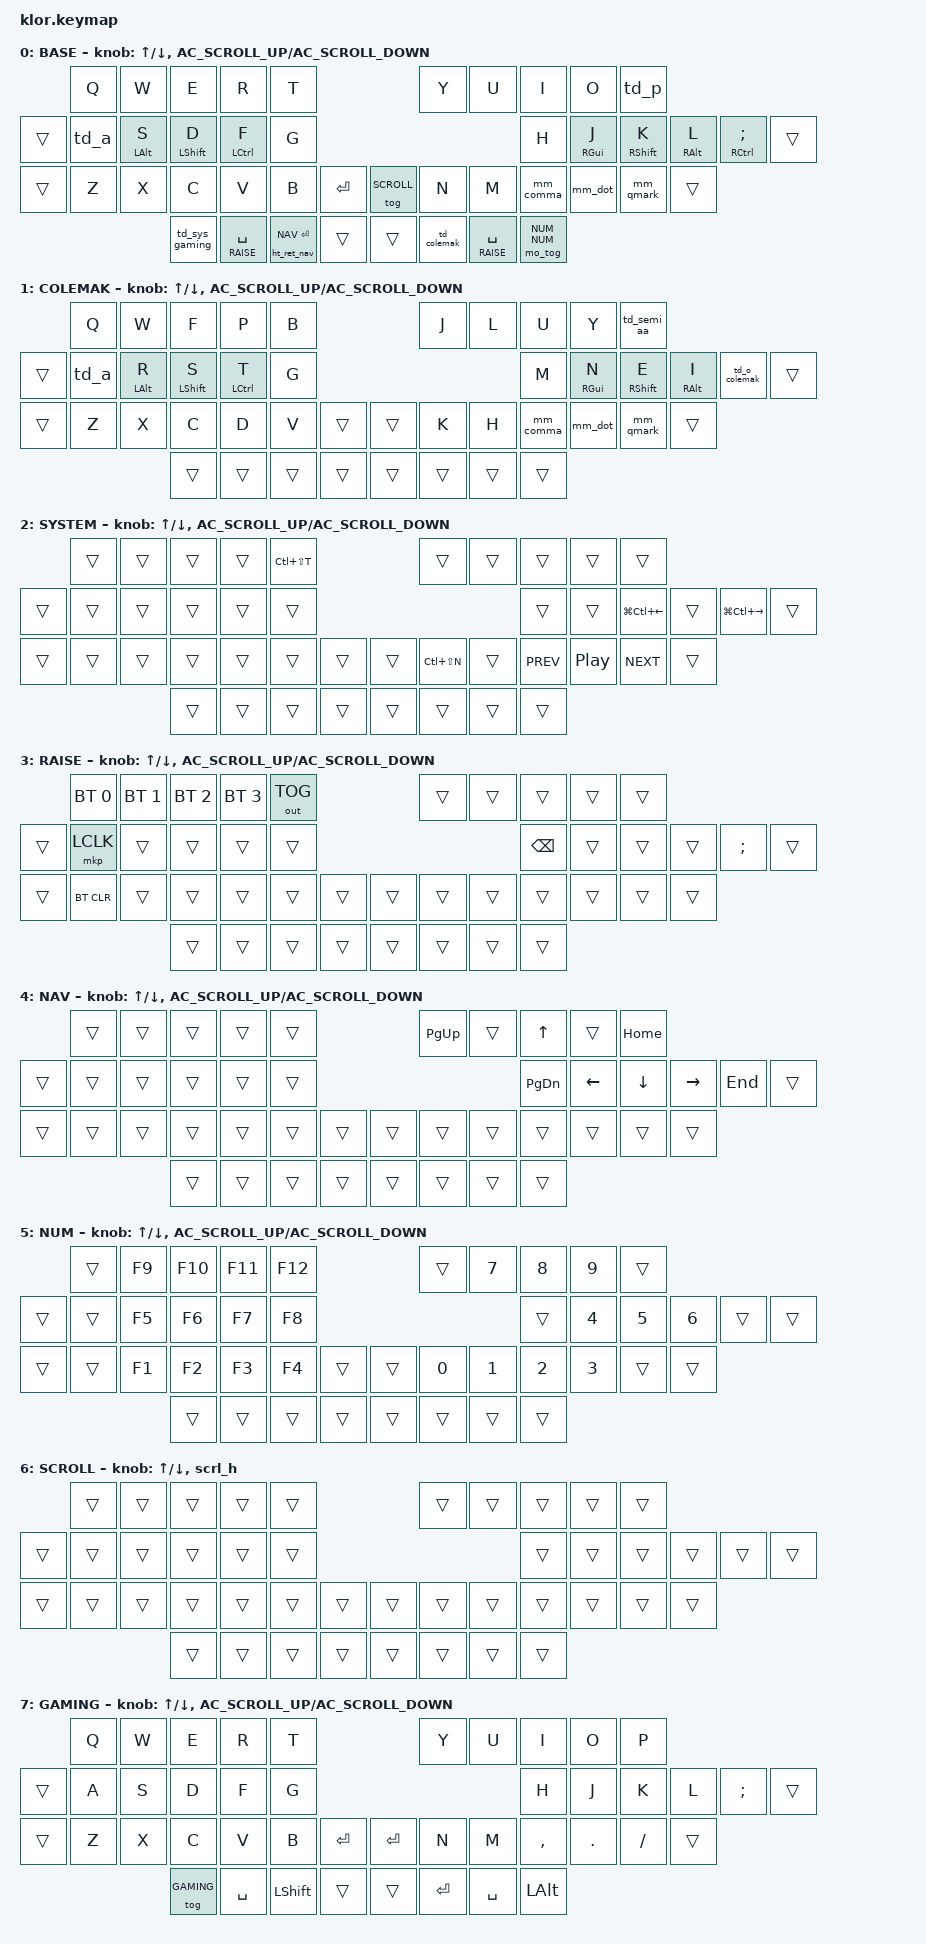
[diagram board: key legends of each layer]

#include <behaviors.dtsi>
// num_word was provided by urob/zmk-auto-layer (v0.3 era). Dropped during the
// ZMK main migration on 2026-05-22 — see config/west.yml.
// #include <behaviors/num_word.dtsi>
#include <dt-bindings/zmk/keys.h>
#include <dt-bindings/zmk/bt.h>
#include <dt-bindings/zmk/outputs.h>
#include <dt-bindings/zmk/ext_power.h>
#include <dt-bindings/zmk/rgb.h>
#include <dt-bindings/zmk/pointing.h>

#define BASE     0
#define COLEMAK  1
#define SYSTEM   2
#define RAISE    3
#define NAV      4
#define NUM      5
#define SCROLL   6
#define GAMING   7

#include "combos.dtsi"
#include "macros.dtsi"
#include "behaviors.dtsi"
#include "tapdance.dtsi"
#include "morphs.dtsi"

/ {
    keymap {
        compatible = "zmk,keymap";

// ▄▄▄▄▄▄▄▄▄▄▄▄▄▄▄▄▄▄▄▄▄▄▄▄▄▄▄▄▄▄▄▄▄▄▄▄▄▄▄▄▄▄▄▄▄▄▄▄▄▄▄▄▄▄▄▄▄▄▄▄▄▄▄▄▄▄▄▄▄▄▄▄▄▄▄▄▄▄▄▄▄▄▄▄▄▄▄▄▄▄▄▄▄▄▄▄▄▄▄▄▄

        base_layer {
display-name = "BASE";
/*             ┌─────────┬─────────┬─────────┬─────────┬─────────┐                    ┌─────────┬─────────┬─────────┬─────────┬─────────┐
               │    Q    │    W    │    E    │    R    │    T    │                    │    Y    │    U    │    I    │    O    │   P/Å   │
   ┌───────────┼─────────┼─────────┼─────────┼─────────┼─────────┤                    ├─────────┼─────────┼─────────┼─────────┼─────────┼───────────┐
   │    ───    │ A/GUI/Ä │  S/ALT  │ D/SHFT  │  F/CTRL │    G    │                    │    H    │  J/GUI  │ K/SHFT  │  L/ALT  │  ;/CTRL │    ───    │
   ├───────────┼─────────┼─────────┼─────────┼─────────┼─────────┤╭────────╮╭────────╮├─────────┼─────────┼─────────┼─────────┼─────────┼───────────┤
   │    ───    │    Z    │    X    │    C    │    V    │    B    ││ ENTER  ││SCR→H   ││    N    │    M    │   ,/;   │   ./:   │   ?/!   │    ───    │
   └───────────┴─────────┴─────────┼─────────┼─────────┼─────────┼╰────────╯╰────────╯┼─────────┼─────────┼─────────┼─────────┴─────────┴───────────┘
                                   │SYS/GAME │SPC/RAISE│ RET/NAV │  ───   ││   ───   │ENT/NAV  │SPC/RAISE│  NUM    │
                                   └─────────┴─────────┴─────────┴─────────┘└─────────┴─────────┴─────────┴─────────┘
                                   SYS: tap=one-shot SYSTEM, hold=momentary SYSTEM, double-tap=GAMING toggle
                                   RET/NAV: tap=Enter, hold=momentary NAV
                                   ENT/NAV: tap=Enter, hold=momentary NAV, double-tap=toggle Colemak DH
                                   NUM: hold=momentary NUM, tap=toggle NUM                        */
bindings = <
//╷           ╷         ╷         ╷         ╷         ╷         ╷         ╷╷         ╷         ╷         ╷         ╷         ╷         ╷           ╷
                &kp Q     &kp W     &kp E     &kp R     &kp T                          &kp Y     &kp U     &kp I     &kp O     &td_p
    &trans      &td_a     &hml LALT S  &hml LSHFT D  &hml LCTRL F  &kp G                 &kp H     &hmr RGUI J  &hmr RSHFT K  &hmr RALT L  &hmr RCTRL SEMI  &trans
    &trans      &kp Z     &kp X     &kp C     &kp V     &kp B     &kp RET    &tog SCROLL  &kp N     &kp M     &mm_comma &mm_dot   &mm_qmark &trans
                                    &td_sys_gaming  &lt RAISE SPACE  &ht_ret_nav NAV RET  &trans  &trans  &td_colemak  &lt RAISE SPACE  &mo_tog NUM NUM
        >;
        sensor-bindings = <&inc_dec_kp UP DOWN &inc_dec_kp C_AC_SCROLL_UP C_AC_SCROLL_DOWN>;
        };

// ▄▄▄▄▄▄▄▄▄▄▄▄▄▄▄▄▄▄▄▄▄▄▄▄▄▄▄▄▄▄▄▄▄▄▄▄▄▄▄▄▄▄▄▄▄▄▄▄▄▄▄▄▄▄▄▄▄▄▄▄▄▄▄▄▄▄▄▄▄▄▄▄▄▄▄▄▄▄▄▄▄▄▄▄▄▄▄▄▄▄▄▄▄▄▄▄▄▄▄▄▄

        colemak_layer {
display-name = "COLEMAK";
/*             ┌─────────┬─────────┬─────────┬─────────┬─────────┐                    ┌─────────┬─────────┬─────────┬─────────┬─────────┐
               │    Q    │    W    │    F    │    P    │    B    │                    │    J    │    L    │    U    │    Y    │  ;/Å    │
   ┌───────────┼─────────┼─────────┼─────────┼─────────┼─────────┤                    ├─────────┼─────────┼─────────┼─────────┼─────────┼───────────┐
   │    ───    │ A/GUI/Ä │  R/ALT  │ S/SHFT  │  T/CTRL │    G    │                    │    M    │  N/GUI  │ E/SHFT  │  I/ALT  │ O/CTRL/Ö│    ───    │
   ├───────────┼─────────┼─────────┼─────────┼─────────┼─────────┤╭────────╮╭────────╮├─────────┼─────────┼─────────┼─────────┼─────────┼───────────┤
   │    ───    │    Z    │    X    │    C    │    D    │    V    ││ ENTER  ││SCR→H   ││    K    │    H    │   ,/;   │   ./:   │   ?/!   │    ───    │
   └───────────┴─────────┴─────────┼─────────┼─────────┼─────────┼╰────────╯╰────────╯┼─────────┼─────────┼─────────┼─────────┴─────────┴───────────┘
                                   │  (SYS)  │(RAISE)  │ CMKDH  │   ───   ││   ───   │ (ENTER) │(RAISE)  │(NAV/NUM)│
                                   └─────────┴─────────┴─────────┴─────────┘└─────────┴─────────┴─────────┴─────────┘  */
bindings = <
//╷           ╷         ╷         ╷         ╷         ╷         ╷         ╷╷         ╷         ╷         ╷         ╷         ╷         ╷           ╷
                &kp Q     &kp W     &kp F     &kp P     &kp B                          &kp J     &kp L     &kp U     &kp Y     &td_semi_aa
    &trans      &td_a     &hml LALT R  &hml LSHFT S  &hml LCTRL T  &kp G                 &kp M     &hmr RGUI N  &hmr RSHFT E  &hmr RALT I  &td_o_colemak  &trans
    &trans      &kp Z     &kp X     &kp C     &kp D     &kp V     &trans     &trans    &kp K     &kp H     &mm_comma &mm_dot   &mm_qmark &trans
                                    &trans    &trans    &trans    &trans     &trans    &trans    &trans    &trans
        >;
        sensor-bindings = <&inc_dec_kp UP DOWN &inc_dec_kp C_AC_SCROLL_UP C_AC_SCROLL_DOWN>;
        };

// ▄▄▄▄▄▄▄▄▄▄▄▄▄▄▄▄▄▄▄▄▄▄▄▄▄▄▄▄▄▄▄▄▄▄▄▄▄▄▄▄▄▄▄▄▄▄▄▄▄▄▄▄▄▄▄▄▄▄▄▄▄▄▄▄▄▄▄▄▄▄▄▄▄▄▄▄▄▄▄▄▄▄▄▄▄▄▄▄▄▄▄▄▄▄▄▄▄▄▄▄▄

        system_layer {
display-name = "SYSTEM";
/*             ┌─────────┬─────────┬─────────┬─────────┬─────────┐                    ┌─────────┬─────────┬─────────┬─────────┬─────────┐
               │         │         │         │         │C+S+T    │                    │         │         │         │         │         │
   ┌───────────┼─────────┼─────────┼─────────┼─────────┼─────────┤                    ├─────────┼─────────┼─────────┼─────────┼─────────┼───────────┐
   │           │         │         │         │         │         │                    │         │W+C+←    │         │W+C+→    │         │           │
   ├───────────┼─────────┼─────────┼─────────┼─────────┼─────────┤╭────────╮╭────────╮├─────────┼─────────┼─────────┼─────────┼─────────┼───────────┤
   │           │         │         │         │         │         ││        ││        ││C+S+N    │         │ C_PREV  │  C_PP   │ C_NEXT  │           │
   └───────────┴─────────┴─────────┼─────────┼─────────┼─────────┼╰────────╯╰────────╯┼─────────┼─────────┼─────────┼─────────┴─────────┴───────────┘
                                   │         │         │         │         ││         │         │         │         │                                  */
bindings = <
//╷           ╷         ╷         ╷         ╷         ╷         ╷         ╷╷         ╷         ╷         ╷         ╷         ╷         ╷           ╷
                &trans    &trans    &trans    &trans     &kp LC(LS(T))                  &trans    &trans   &trans     &trans    &trans
    &trans      &trans    &trans    &trans    &trans     &trans               &trans    &trans    &kp LG(LC(LEFT)) &trans     &kp LG(LC(RIGHT)) &trans
    &trans      &trans    &trans    &trans    &trans     &trans    &trans     &trans    &kp LC(LS(N))  &trans   &kp C_PREV  &kp C_PP  &kp C_NEXT  &trans
                                    &trans    &trans     &trans    &trans     &trans    &trans    &trans   &trans
        >;
        sensor-bindings = <&inc_dec_kp UP DOWN &inc_dec_kp C_AC_SCROLL_UP C_AC_SCROLL_DOWN>;
        };

// ▄▄▄▄▄▄▄▄▄▄▄▄▄▄▄▄▄▄▄▄▄▄▄▄▄▄▄▄▄▄▄▄▄▄▄▄▄▄▄▄▄▄▄▄▄▄▄▄▄▄▄▄▄▄▄▄▄▄▄▄▄▄▄▄▄▄▄▄▄▄▄▄▄▄▄▄▄▄▄▄▄▄▄▄▄▄▄▄▄▄▄▄▄▄▄▄▄▄▄▄▄

        raise_layer {
display-name = "RAISE";
/*             ┌─────────┬─────────┬─────────┬─────────┬─────────┐                    ┌─────────┬─────────┬─────────┬─────────┬─────────┐
               │  BT 0   │  BT 1   │  BT 2   │  BT 3   │OUT TOG  │                    │         │         │         │         │         │
   ┌───────────┼─────────┼─────────┼─────────┼─────────┼─────────┤                    ├─────────┼─────────┼─────────┼─────────┼─────────┼───────────┐
   │           │  LCLK   │         │         │         │         │                    │  BSPC   │         │         │         │    Ö/ö  │           │
   ├───────────┼─────────┼─────────┼─────────┼─────────┼─────────┤╭────────╮╭────────╮├─────────┼─────────┼─────────┼─────────┼─────────┼───────────┤
   │           │ BT CLR  │         │         │         │         ││        ││        ││         │         │         │         │         │           │
   └───────────┴─────────┴─────────┼─────────┼─────────┼─────────┼╰────────╯╰────────╯┼─────────┼─────────┼─────────┼─────────┴─────────┴───────────┘
                                   │         │         │         │         ││         │         │         │         │                                  */
bindings = <
//╷           ╷         ╷         ╷         ╷         ╷         ╷         ╷╷         ╷         ╷         ╷         ╷         ╷         ╷           ╷
                &bt BT_SEL 0  &bt BT_SEL 1  &bt BT_SEL 2  &bt BT_SEL 3  &out OUT_TOG              &trans    &trans    &trans    &trans    &trans
    &trans      &mkp LCLK     &trans        &trans        &trans        &trans                    &kp BSPC  &trans    &trans    &trans    &kp SEMI  &trans
    &trans      &bt BT_CLR    &trans        &trans        &trans        &trans    &trans  &trans  &trans    &trans    &trans    &trans    &trans    &trans
                                            &trans        &trans        &trans    &trans  &trans  &trans    &trans    &trans
        >;
        sensor-bindings = <&inc_dec_kp UP DOWN &inc_dec_kp C_AC_SCROLL_UP C_AC_SCROLL_DOWN>;
        };

// ▄▄▄▄▄▄▄▄▄▄▄▄▄▄▄▄▄▄▄▄▄▄▄▄▄▄▄▄▄▄▄▄▄▄▄▄▄▄▄▄▄▄▄▄▄▄▄▄▄▄▄▄▄▄▄▄▄▄▄▄▄▄▄▄▄▄▄▄▄▄▄▄▄▄▄▄▄▄▄▄▄▄▄▄▄▄▄▄▄▄▄▄▄▄▄▄▄▄▄▄▄

        nav_layer {
display-name = "NAV";
bindings = <
//╷           ╷         ╷         ╷         ╷         ╷         ╷         ╷╷         ╷         ╷         ╷         ╷         ╷         ╷           ╷
                &trans    &trans    &trans    &trans    &trans                         &kp PG_UP    &trans    &kp UP    &trans    &kp HOME
    &trans      &trans    &trans    &trans    &trans    &trans                         &kp PG_DN     &kp LEFT    &kp DOWN    &kp RIGHT    &kp END    &trans
    &trans      &trans    &trans    &trans    &trans    &trans    &trans     &trans    &trans    &trans    &trans    &trans    &trans    &trans
                                    &trans    &trans    &trans    &trans     &trans    &trans    &trans    &trans
        >;
        sensor-bindings = <&inc_dec_kp UP DOWN &inc_dec_kp C_AC_SCROLL_UP C_AC_SCROLL_DOWN>;
        };

// ▄▄▄▄▄▄▄▄▄▄▄▄▄▄▄▄▄▄▄▄▄▄▄▄▄▄▄▄▄▄▄▄▄▄▄▄▄▄▄▄▄▄▄▄▄▄▄▄▄▄▄▄▄▄▄▄▄▄▄▄▄▄▄▄▄▄▄▄▄▄▄▄▄▄▄▄▄▄▄▄▄▄▄▄▄▄▄▄▄▄▄▄▄▄▄▄▄▄▄▄▄

        num_layer {
display-name = "NUM";
bindings = <
//╷           ╷         ╷         ╷         ╷         ╷         ╷         ╷╷         ╷         ╷         ╷         ╷         ╷         ╷           ╷
                &trans    &kp F9    &kp F10   &kp F11   &kp F12                        &trans    &kp N7  &kp N8  &kp N9  &trans
    &trans      &trans    &kp F5    &kp F6    &kp F7    &kp F8                         &trans    &kp N4  &kp N5  &kp N6  &trans  &trans
    &trans      &trans    &kp F1    &kp F2    &kp F3    &kp F4    &trans     &trans    &kp N0    &kp N1  &kp N2  &kp N3  &trans  &trans
                                    &trans    &trans    &trans    &trans     &trans    &trans    &trans     &trans
        >;
        sensor-bindings = <&inc_dec_kp UP DOWN &inc_dec_kp C_AC_SCROLL_UP C_AC_SCROLL_DOWN>;
        };

// ▄▄▄▄▄▄▄▄▄▄▄▄▄▄▄▄▄▄▄▄▄▄▄▄▄▄▄▄▄▄▄▄▄▄▄▄▄▄▄▄▄▄▄▄▄▄▄▄▄▄▄▄▄▄▄▄▄▄▄▄▄▄▄▄▄▄▄▄▄▄▄▄▄▄▄▄▄▄▄▄▄▄▄▄▄▄▄▄▄▄▄▄▄▄▄▄▄▄▄▄▄

        scroll_layer {
display-name = "SCROLL";
bindings = <
//╷           ╷         ╷         ╷         ╷         ╷         ╷         ╷╷         ╷         ╷         ╷         ╷         ╷         ╷           ╷
                &trans    &trans    &trans    &trans    &trans                         &trans    &trans    &trans    &trans    &trans
    &trans      &trans    &trans    &trans    &trans    &trans                         &trans    &trans    &trans    &trans    &trans    &trans
    &trans      &trans    &trans    &trans    &trans    &trans    &trans     &trans    &trans    &trans    &trans    &trans    &trans    &trans
                                    &trans    &trans    &trans    &trans     &trans    &trans    &trans    &trans
        >;
        sensor-bindings = <&inc_dec_kp UP DOWN &scrl_h>;
        };

// ▄▄▄▄▄▄▄▄▄▄▄▄▄▄▄▄▄▄▄▄▄▄▄▄▄▄▄▄▄▄▄▄▄▄▄▄▄▄▄▄▄▄▄▄▄▄▄▄▄▄▄▄▄▄▄▄▄▄▄▄▄▄▄▄▄▄▄▄▄▄▄▄▄▄▄▄▄▄▄▄▄▄▄▄▄▄▄▄▄▄▄▄▄▄▄▄▄▄▄▄▄

        gaming_layer {
display-name = "GAMING";
/*  ╔═══════════════════════════════════════════════════════════════════════════════════════════════════╗
    ║  GAMING — pure-keypress layer, no mods, no morphs, no tap-dances, no combos.                      ║
    ║  Entered/exited via SYS thumb double-tap (`td_sys_gaming`). Plain `&kp` everywhere so home-row    ║
    ║  letters under heavy hold (e.g. WASD) never trigger mods. Combos do not fire on this layer        ║
    ║  because each combo lists explicit `layers = <BASE COLEMAK>` (or SYSTEM); none lists GAMING.      ║
    ║  Encoder is plain ↑↓ / scroll like BASE, but with no hold-tap / sensor-rotate layering quirks.    ║
    ╚═══════════════════════════════════════════════════════════════════════════════════════════════════╝
               ┌─────────┬─────────┬─────────┬─────────┬─────────┐                    ┌─────────┬─────────┬─────────┬─────────┬─────────┐
               │    Q    │    W    │    E    │    R    │    T    │                    │    Y    │    U    │    I    │    O    │    P    │
   ┌───────────┼─────────┼─────────┼─────────┼─────────┼─────────┤                    ├─────────┼─────────┼─────────┼─────────┼─────────┼───────────┐
   │    ───    │    A    │    S    │    D    │    F    │    G    │                    │    H    │    J    │    K    │    L    │    ;    │    ───    │
   ├───────────┼─────────┼─────────┼─────────┼─────────┼─────────┤╭────────╮╭────────╮├─────────┼─────────┼─────────┼─────────┼─────────┼───────────┤
   │    ───    │    Z    │    X    │    C    │    V    │    B    ││ ENTER  ││ ENTER  ││    N    │    M    │    ,    │    .    │    /    │    ───    │
   └───────────┴─────────┴─────────┼─────────┼─────────┼─────────┼╰────────╯╰────────╯┼─────────┼─────────┼─────────┼─────────┴─────────┴───────────┘
                                   │ EXIT GM │  SPACE  │  LSHFT  │   ───   ││   ───   │  ENTER  │  SPACE  │  LALT   │
                                   └─────────┴─────────┴─────────┴─────────┘└─────────┴─────────┴─────────┴─────────┘
                                   EXIT GM = &tog GAMING (single tap returns to BASE/COLEMAK)
*/
bindings = <
//╷           ╷         ╷         ╷         ╷         ╷         ╷         ╷╷         ╷         ╷         ╷         ╷         ╷         ╷           ╷
                &kp Q     &kp W     &kp E     &kp R     &kp T                          &kp Y     &kp U     &kp I     &kp O     &kp P
    &trans      &kp A     &kp S     &kp D     &kp F     &kp G                          &kp H     &kp J     &kp K     &kp L     &kp SEMI  &trans
    &trans      &kp Z     &kp X     &kp C     &kp V     &kp B     &kp RET    &kp RET   &kp N     &kp M     &kp COMMA &kp DOT   &kp FSLH  &trans
                                    &tog GAMING  &kp SPACE  &kp LSHFT  &trans  &trans  &kp RET  &kp SPACE  &kp LALT
        >;
        sensor-bindings = <&inc_dec_kp UP DOWN &inc_dec_kp C_AC_SCROLL_UP C_AC_SCROLL_DOWN>;
        };

    };
};
